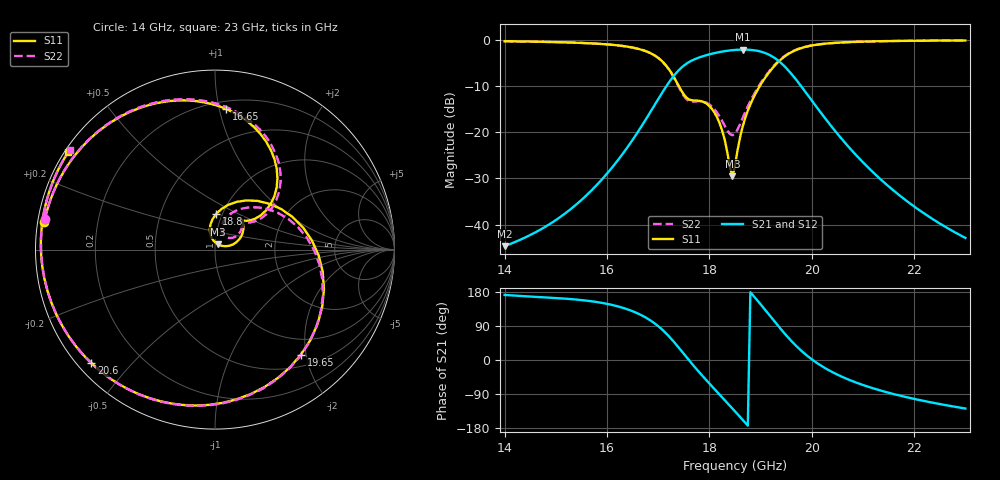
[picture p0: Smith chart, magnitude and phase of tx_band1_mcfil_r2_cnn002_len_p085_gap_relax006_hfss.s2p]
! Touchstone file exported from HFSS 3D Layout Design 2026.1.0
!  File:  D:/Work/SIM/ADS_AUTO_SIM/projects/RFSOC_RF/TX_Fillter.aedt
!  Generated:  10:31:48 PM Aug 30, 2026
!  Design:  TX_BAND1_MCFIL_R2_CNN002_P2UP_GRAPHICAL
!  Project:  TX_Fillter
# GHz S MA R 50.000000
! Terminal data exported
! Port[1] = Port1
! Port[2] = Port2
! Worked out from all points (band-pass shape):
!   181 points, 14 GHz to 23 GHz, reference 50 ohm
!   highest |S21| = -2.13 dB at 18.65 GHz (marker M1); lowest = -44.6 dB at 14 GHz (marker M2)
!   |S21| within 3 dB of the highest: 17.56 GHz to 19.41 GHz (1.849 GHz wide, 10 % of centre)
!   lowest |S11| = -29.6 dB at 18.45 GHz (marker M3), VSWR 1.07, Z = 51.5 + j3.04 ohm
!   |S11| at or under -10 dB: 17.4 GHz to 18.99 GHz (1.584 GHz wide, 8.71 % of centre)
!   |S22| runs from -20.7 to -0.2 dB; largest |S21 - S12| = 1.4e-14
!   S11 on the Smith chart (normalised r, x): 14 GHz: 0.02, +0.08; 16.65 GHz: 0.26, +1.05; 18.8 GHz: 0.94, +0.39; 19.65 GHz: 0.70, -1.91; 20.6 GHz: 0.04, -0.39; 23 GHz: 0.01, +0.30
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14  0.9634 170.7  0.005856 171.7  0.005856 171.7  0.9631 169.8
15.5  0.924 134.0  0.01849 158.2  0.01849 158.2  0.9233 132.3
16.2  0.8703 108.7  0.0488 141.9  0.0488 141.9  0.8696 106.5
16.65  0.7863 85.5  0.1105 119.8  0.1105 119.8  0.7857 83.0
17  0.6364 60.8  0.2278 89.3  0.2278 89.3  0.6351 58.0
17.35  0.3567 37.5  0.436 40.9  0.436 40.9  0.3508 34.6
17.55  0.2374 42.5  0.5497 7.9  0.5497 7.9  0.2282 41.4
17.75  0.2197 48.6  0.6281 -24.4  0.6281 -24.4  0.2156 50.8
18.15  0.1447 22.5  0.7263 -84.1  0.7263 -84.1  0.1623 33.9
18.3  0.08215 15.0  0.7524 -106.0  0.7524 -106.0  0.1171 34.1
18.45  0.03328 62.5  0.7714 -128.0  0.7714 -128.0  0.0926 53.5
18.5  0.04321 93.6  0.7759 -135.4  0.7759 -135.4  0.0965 62.3
18.65  0.1151 104.8  0.7825 -157.9  0.7825 -157.9  0.1426 74.2
18.8  0.1999 87.9  0.7772 179.0  0.7772 179.0  0.2163 66.8
19  0.3262 57.2  0.7448 147.0  0.7448 147.0  0.3379 44.1
19.2  0.4691 22.8  0.6727 113.9  0.6727 113.9  0.4796 15.1
19.45  0.6464 -20.1  0.5272 72.9  0.5272 72.9  0.655 -23.5
19.65  0.7563 -50.7  0.3968 43.2  0.3968 43.2  0.7623 -52.0
20  0.866 -92.4  0.22 1.7  0.22 1.7  0.868 -92.1
20.6  0.9353 -137.5  0.08261 -44.9  0.08261 -44.9  0.9347 -136.8
21.5  0.9675 -176.0  0.02597 -86.4  0.02597 -86.4  0.9668 -176.0
23  0.982 146.4  0.00719 -128.1  0.00719 -128.1  0.9818 145.5
